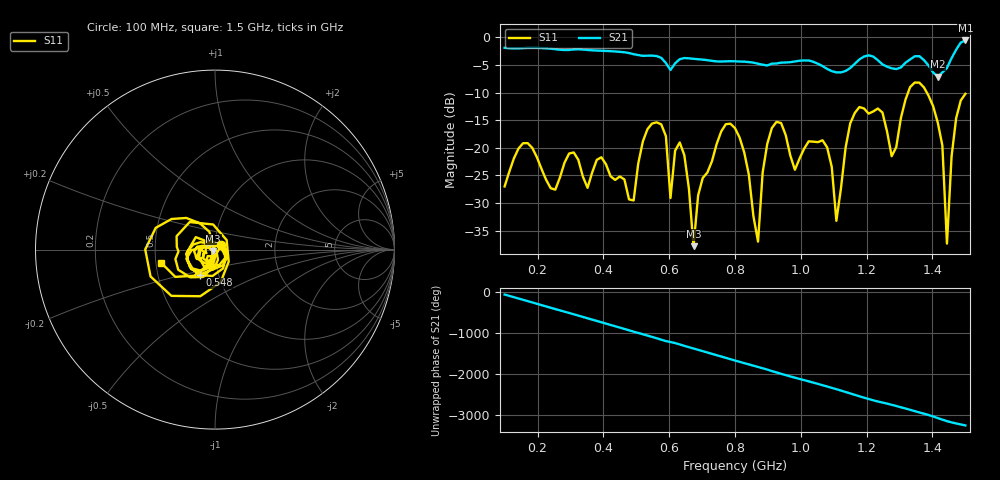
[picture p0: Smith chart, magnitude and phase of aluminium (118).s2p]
! NanoVNA-App
! Date: 2025-09-26 09:58:58
! Start: 100MHz Stop: 1,5GHz Points: 101
! S-Parameter data: F S11 S21 S12 S22
# Hz S RI R 50
!  Frequency  S11_Real  S11_Imag  S21_Real  S21_Imag  S12_Real  S12_Imag  S22_Real  S22_Imag
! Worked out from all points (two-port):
!   101 points, 100 MHz to 1.5 GHz, reference 50 ohm
!   highest |S21| = -0.58 dB at 1.5 GHz (marker M1); lowest = -7.1 dB at 1.416 GHz (marker M2)
!   |S21| within 3 dB of the highest: start of sweep to 569.8 MHz; 1.189 GHz to 1.222 GHz (32.45 MHz wide, 2.69 % of centre) (the widest 2 of 4)
!   lowest |S11| = -37.8 dB at 674 MHz (marker M3), VSWR 1.03, Z = 49 - j0.8 ohm
!   |S11| at or under -10 dB: start of sweep to 1.326 GHz; 1.383 GHz to end of sweep
!   S12 and S22 are empty: the file has one direction only
!   S11 on the Smith chart (normalised r, x): 100 MHz: 1.07, +0.06; 548 MHz: 0.81, -0.24; 1.5 GHz: 0.53, -0.09
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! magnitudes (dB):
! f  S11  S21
! 100 MHz  -27.0  -1.9
! 338 MHz  -25.2  -2.2
! 492 MHz  -29.5  -3.1
! 548 MHz  -15.6  -3.3
! 576 MHz  -15.8  -3.7
! 604 MHz  -29.1  -5.9
! 646 MHz  -21.3  -3.8
! 674 MHz  -37.8  -3.9
! 702 MHz  -25.5  -4.0
! 800 MHz  -16.4  -4.4
! 870 MHz  -37.0  -4.8
! 912 MHz  -16.4  -4.8
! 1.038 GHz  -18.9  -4.4
! 1.08 GHz  -19.9  -5.7
! 1.108 GHz  -33.2  -6.4
! 1.178 GHz  -12.6  -4.0
! 1.276 GHz  -21.5  -5.6
! 1.346 GHz  -8.2  -3.4
! 1.416 GHz  -15.4  -7.1
! 1.444 GHz  -37.3  -5.6
! 1.472 GHz  -14.6  -2.2
! 1.5 GHz  -10.2  -0.6
